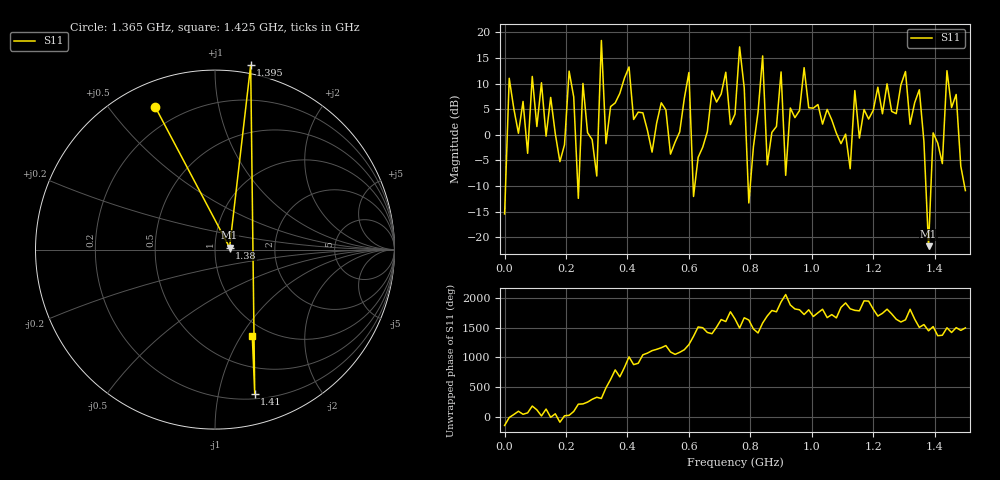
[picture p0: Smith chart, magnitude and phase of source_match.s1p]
! Created with skrf 1.8.0 (http://scikit-rf.org).
# Hz S RI R 50.0
!freq ReS11 ImS11
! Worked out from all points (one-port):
!   101 points, 50 kHz to 1.5 GHz, reference 50 ohm
!   lowest |S11| = -21.7 dB at 1.38 GHz (marker M1), VSWR 1.18, Z = 58.8 + j1.35 ohm
!   |S11| at or under -10 dB: start of sweep to 3.127 MHz; 238.2 MHz to 241.6 MHz (3.407 MHz wide, 1.42 % of centre); 613.8 MHz to 619 MHz (5.23 MHz wide, 0.848 % of centre) (the widest 3 of 6)
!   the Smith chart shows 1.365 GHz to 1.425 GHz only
!   S11 on the Smith chart (normalised r, x): 1.365 GHz: 0.11, +0.66; 1.38 GHz: 1.18, +0.03; 1.395 GHz: -0.06, +1.21; 1.41 GHz: 0.25, -1.28; 1.425 GHz: 0.84, -1.12
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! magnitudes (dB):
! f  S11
! 50 kHz  -15.4
! 15.05 MHz  11.0
! 195 MHz  -1.9
! 210 MHz  12.4
! 240 MHz  -12.4
! 255 MHz  10.0
! 300 MHz  -8.0
! 315 MHz  18.4
! 330 MHz  -1.7
! 375 MHz  8.1
! 570 MHz  0.6
! 750 MHz  4.0
! 765 MHz  17.2
! 795 MHz  -13.3
! 840 MHz  15.4
! 855 MHz  -5.8
! 900 MHz  12.3
! 945 MHz  3.4
! 1.125 GHz  -6.6
! 1.14 GHz  8.6
! 1.32 GHz  2.1
! 1.365 GHz  -1.3
! 1.38 GHz  -21.7
! 1.395 GHz  0.4
! 1.41 GHz  -1.6
! 1.425 GHz  -5.6
! 1.44 GHz  12.5
! 1.5 GHz  -10.9
